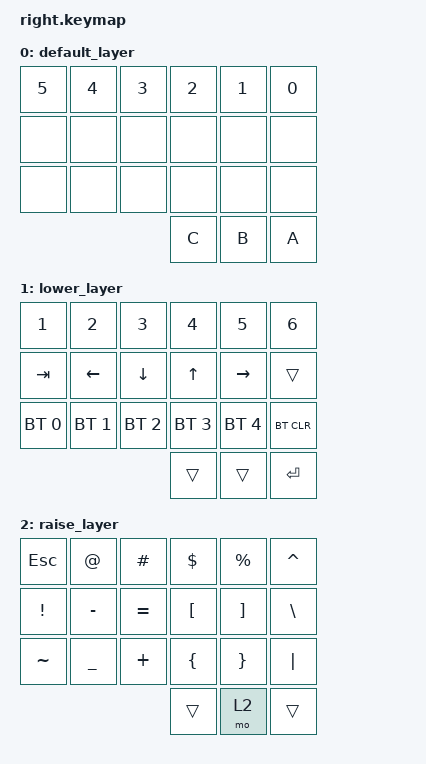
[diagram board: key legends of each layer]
// Copyright (c) 2025
// SPDX-License-Identifier: MIT

#include <behaviors.dtsi>
#include <dt-bindings/zmk/keys.h>
#include <dt-bindings/zmk/bt.h>

/ {
    keymap {
        compatible = "zmk,keymap";
        
        default_layer {
            // Test layout - each key shows its position
            // Row0: 5 4 3 2 1 0
            // Row1: @ @ @ @ @ @
            // Row2: @ @ @ @ @ @
            // Row3:       C B A (col3,4,5)
            bindings = <
                &kp N5 &kp N4    &kp N3 &kp N2    &kp N1 &kp N0
                &none  &none     &none  &none     &none  &none
                &none  &none     &none  &none     &none  &none
                                        &kp C     &kp B  &kp A
            >;
        };
        
        lower_layer {
            // -----------------------------------------------------------------------------------------
            // |  1  |  2  |  3  |  4  |  5  |  6  |
            // | TAB | LFT | DWN | UP  | RGT |     |
            // | BT1 | BT2 | BT3 | BT4 | BT5 | CLR |
            //       |     |     | ENT |
            bindings = <
                &kp N1       &kp N2       &kp N3       &kp N4       &kp N5       &kp N6
                &kp TAB      &kp LEFT     &kp DOWN     &kp UP       &kp RIGHT    &trans
                &bt BT_SEL 0 &bt BT_SEL 1 &bt BT_SEL 2 &bt BT_SEL 3 &bt BT_SEL 4 &bt BT_CLR
                             &trans       &trans       &kp RET
            >;
        };
        
        raise_layer {
            // -----------------------------------------------------------------------------------------
            // | ESC |  @  |  #  |  $  |  %  |  ^  |
            // |  !  |  -  |  =  |  [  |  ]  |  \  |
            // |  ~  |  _  |  +  |  {  |  }  |  |  |
            //       |     | RSE |     |
            bindings = <
                &kp ESC   &kp AT    &kp HASH  &kp DLLR  &kp PRCNT &kp CARET
                &kp EXCL  &kp MINUS &kp EQUAL &kp LBKT  &kp RBKT  &kp BSLH
                &kp TILDE &kp UNDER &kp PLUS  &kp LBRC  &kp RBRC  &kp PIPE
                          &trans    &mo 2     &trans
            >;
        };
    };
};
